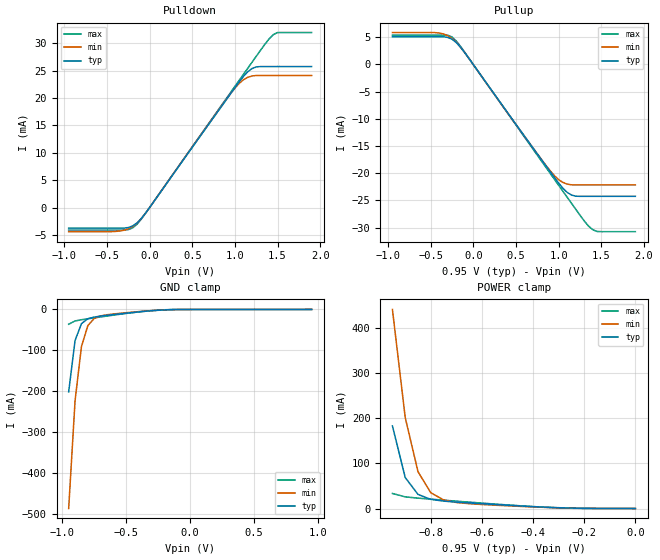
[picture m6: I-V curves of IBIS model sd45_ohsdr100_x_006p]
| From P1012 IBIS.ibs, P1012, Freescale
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[Model]   sd45_ohsdr100_x_006p
Model_type 3-state
Enable Active-High
Polarity Non-Inverting
|   TYP   MIN   MAX
C_comp   1.60pF   1.60pF   1.67pF
[Model Spec]
Vmeas   0.475   0.425   0.605
[Voltage Range]   0.95   0.85   1.21
[Temperature Range] 65   125   -40
[Driver Schedule]
| Model_Name  Rise_on_dly   Rise_off_dly   Fall_on_dly   Fall_off_dly
sd45_ohsdr100_x_00   0ps   NA   0ps   NA
sd45_ohsdr100_x_06   400ps   NA   400ps   NA
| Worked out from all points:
|   slope of the pulldown table from 0 to 0.142 V, typ, clamps not added: 45.5 ohm
|   slope of the pullup table from 0 to 0.142 V, typ, clamps not added: 45.4 ohm
|   GND clamp passes 1 mA (typ) near -0.19 V on its own axis
|   POWER clamp passes 1 mA (typ) near -0.25 V on its own axis
[Pullup]
|   Vout(V)   TYP   WCS   BCS
-950mV    5.093mA    5.874mA    5.386mA
-400mV    5.093mA    5.787mA    5.386mA
-250mV    4.634mA    4.784mA    5.037mA
-100mV    2.128mA    2.126mA    2.211mA
750mV     -16.46mA   -16.43mA   -16.69mA
900mV     -19.71mA   -19.54mA   -20.01mA
1V        -21.82mA   -21.19mA   -22.22mA
1.15V     -24mA      -22.13mA   -25.52mA
1.3V      -24.25mA   -22.13mA   -28.77mA
1.4V      -24.25mA   -22.13mA   -30.39mA
1.45V     -24.25mA   -22.13mA   -30.72mA
1.9V      -24.25mA   -22.13mA   -30.75mA
[Pulldown]
|   Vout(V)   TYP   WCS   BCS
-950mV    -3.758mA   -4.406mA   -4.109mA
-400mV    -3.758mA   -4.371mA   -4.109mA
-200mV    -3.361mA   -3.47mA    -3.717mA
-50mV     -1.064mA   -1.064mA   -1.095mA
900mV     19.7mA     19.76mA    19.92mA
1V        21.87mA    21.8mA     22.11mA
1.1V      23.93mA    23.32mA    24.31mA
1.2V      25.36mA    24.01mA    26.5mA
1.25V     25.67mA    24.1mA     27.6mA
1.45V     25.74mA    24.1mA     31.55mA
1.5V      25.74mA    24.1mA     31.94mA
1.9V      25.74mA    24.1mA     31.94mA
[GND Clamp]
|   Vout(V)   TYP   WCS   BCS
-950mV    -201.6mA   -486.5mA   -36.16mA
-900mV    -75.75mA   -222.9mA   -28.05mA
-850mV    -34.66mA   -90.59mA   -25.11mA
-800mV    -22.71mA   -39.37mA   -22.78mA
-750mV    -18.57mA   -21.91mA   -20.52mA
-700mV    -16.25mA   -15.71mA   -18.29mA
-650mV    -14.32mA   -12.88mA   -16.07mA
-400mV    -5.858mA   -5.175mA   -5.911mA
-200mV    -1.108mA   -1.072mA   -756.7uA
950mV     70.01uA    122.9uA    16.34uA
[POWER Clamp]
|   Vout(V)   TYP   WCS   BCS
-950mV    183.5mA    442.2mA    33.42mA
-900mV    68.86mA    202.2mA    25.88mA
-850mV    31.34mA    81.75mA    23.04mA
-800mV    20.35mA    35.06mA    20.76mA
-750mV    16.46mA    19.08mA    18.55mA
-700mV    14.22mA    13.35mA    16.36mA
-650mV    12.35mA    10.71mA    14.18mA
-300mV    1.805mA    1.56mA     1.409mA
0V        0A         0A         0A
[Ramp]
R_load=50.00
dV/dt_r  2.9887e-01/6.4040e-11  2.6861e-01/6.5155e-11  3.8214e-01/6.5744e-11
dV/dt_f  2.9887e-01/6.6355e-11  2.6861e-01/6.7761e-11  3.8218e-01/6.7348e-11
